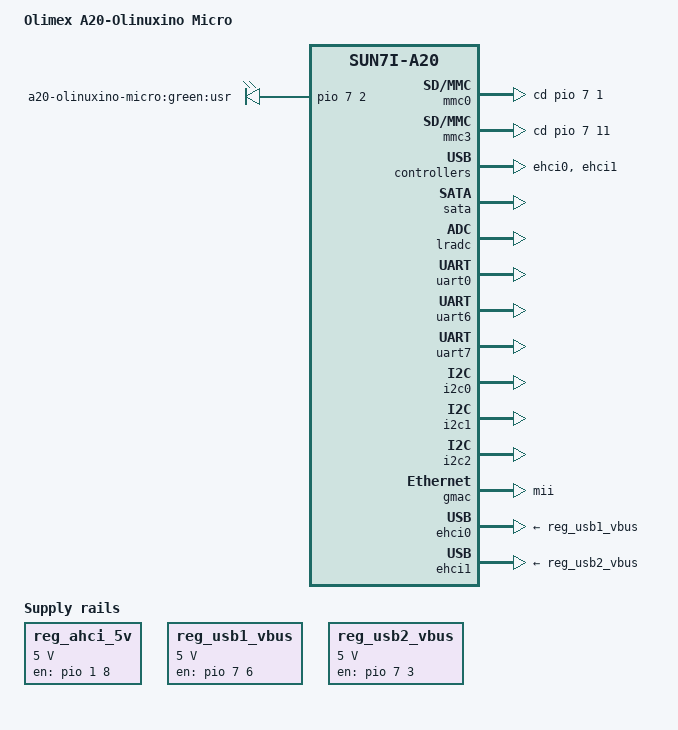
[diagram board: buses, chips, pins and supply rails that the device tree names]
/*
 * Copyright 2013 Maxime Ripard
 *
 * Maxime Ripard <maxime.ripard@free-electrons.com>
 *
 * The code contained herein is licensed under the GNU General Public
 * License. You may obtain a copy of the GNU General Public License
 * Version 2 or later at the following locations:
 *
 * http://www.opensource.org/licenses/gpl-license.html
 * http://www.gnu.org/copyleft/gpl.html
 */

/dts-v1/;
/include/ "sun7i-a20.dtsi"
#include <dt-bindings/input/input.h>

/ {
	model = "Olimex A20-Olinuxino Micro";
	compatible = "olimex,a20-olinuxino-micro", "allwinner,sun7i-a20";

	soc@01c00000 {
		mmc0: mmc@01c0f000 {
			pinctrl-names = "default";
			pinctrl-0 = <&mmc0_pins_a>;
			pinctrl-1 = <&mmc0_cd_pin_olinuxinom>;
			cd-gpios = <&pio 7 1 0>; /* PH1 */
			cd-mode = <1>;
			status = "okay";
		};

		mmc3: mmc@01c12000 {
			pinctrl-names = "default";
			pinctrl-0 = <&mmc3_pins_a>;
			pinctrl-1 = <&mmc3_cd_pin_olinuxinom>;
			cd-gpios = <&pio 7 11 0>; /* PH11 */
			cd-mode = <1>;
			status = "okay";
		};

		usbphy: phy@0x01c13400 {
			usb1_vbus-supply = <&reg_usb1_vbus>;
			usb2_vbus-supply = <&reg_usb2_vbus>;
			status = "okay";
		};

		ehci0: ehci@0x01c14000 {
			status = "okay";
		};

		sata: ahci@01c18000 {
			pwr-supply = <&reg_ahci_5v>;
			status = "okay";
		};

		ehci1: ehci@0x01c1c000 {
			status = "okay";
		};

		pinctrl@01c20800 {
			ahci_pwr_pin_olinuxinom: ahci_pwr_pin@0 {
				allwinner,pins = "PB8";
				allwinner,function = "gpio_out";
				allwinner,drive = <0>;
				allwinner,pull = <0>;
			};

			mmc0_cd_pin_olinuxinom: mmc0_cd_pin@0 {
				allwinner,pins = "PH1";
				allwinner,function = "gpio_in";
				allwinner,drive = <0>;
				allwinner,pull = <0>;
			};

			mmc3_cd_pin_olinuxinom: mmc3_cd_pin@0 {
				allwinner,pins = "PH11";
				allwinner,function = "gpio_in";
				allwinner,drive = <0>;
				allwinner,pull = <0>;
			};

			led_pins_olinuxino: led_pins@0 {
				allwinner,pins = "PH2";
				allwinner,function = "gpio_out";
				allwinner,drive = <1>;
				allwinner,pull = <0>;
			};

			usb1_vbus_pin_olinuxinom: usb1_vbus_pin@0 {
					allwinner,pins = "PH6";
					allwinner,function = "gpio_out";
					allwinner,drive = <0>;
					allwinner,pull = <0>;
			};

			usb2_vbus_pin_olinuxinom: usb2_vbus_pin@0 {
					allwinner,pins = "PH3";
					allwinner,function = "gpio_out";
					allwinner,drive = <0>;
					allwinner,pull = <0>;
			};
		};

		lradc: lradc@01c22800 {
			allwinner,chan0-step = <200>;
			linux,chan0-keycodes = <KEY_VOLUMEUP KEY_VOLUMEDOWN
						KEY_MENU KEY_SEARCH KEY_HOME
						KEY_ESC KEY_ENTER>;
			status = "okay";
		};

		uart0: serial@01c28000 {
			pinctrl-names = "default";
			pinctrl-0 = <&uart0_pins_a>;
			status = "okay";
		};

		uart6: serial@01c29800 {
			pinctrl-names = "default";
			pinctrl-0 = <&uart6_pins_a>;
			status = "okay";
		};

		uart7: serial@01c29c00 {
			pinctrl-names = "default";
			pinctrl-0 = <&uart7_pins_a>;
			status = "okay";
		};

		i2c0: i2c@01c2ac00 {
			pinctrl-names = "default";
			pinctrl-0 = <&i2c0_pins_a>;
			status = "okay";
		};

		i2c1: i2c@01c2b000 {
			pinctrl-names = "default";
			pinctrl-0 = <&i2c1_pins_a>;
			status = "okay";
		};

		i2c2: i2c@01c2b400 {
			pinctrl-names = "default";
			pinctrl-0 = <&i2c2_pins_a>;
			status = "okay";
		};

		gmac: ethernet@01c50000 {
			pinctrl-names = "default";
			pinctrl-0 = <&gmac_pins_mii>;
			snps,phy-addr = <1>;
			phy-mode = "mii";
			status = "okay";
		};

		ehci0: ehci0@0x01c14000 {
			vbus-supply = <&reg_usb1_vbus>;
			status = "okay";
		};

		ehci1: ehci1@0x01c1c000 {
			vbus-supply = <&reg_usb2_vbus>;
			status = "okay";
		};
	};

	leds {
		compatible = "gpio-leds";
		pinctrl-names = "default";
		pinctrl-0 = <&led_pins_olinuxino>;

		green {
			label = "a20-olinuxino-micro:green:usr";
			gpios = <&pio 7 2 0>;
			default-state = "on";
		};
	};

	regulators {
		compatible = "simple-bus";
		pinctrl-names = "default";

		reg_ahci_5v: ahci-5v {
			compatible = "regulator-fixed";
			regulator-name = "ahci-5v";
			regulator-min-microvolt = <5000000>;
			regulator-max-microvolt = <5000000>;
			pinctrl-0 = <&ahci_pwr_pin_olinuxinom>;
			gpio = <&pio 1 8 0>;
			enable-active-high;
		};

		reg_usb1_vbus: usb1-vbus {
			compatible = "regulator-fixed";
			pinctrl-names = "default";
			pinctrl-0 = <&usb1_vbus_pin_olinuxinom>;
			regulator-name = "usb1-vbus";
			regulator-min-microvolt = <5000000>;
			regulator-max-microvolt = <5000000>;
			enable-active-high;
			gpio = <&pio 7 6 0>;
		};

		reg_usb2_vbus: usb2-vbus {
			compatible = "regulator-fixed";
			pinctrl-names = "default";
			pinctrl-0 = <&usb2_vbus_pin_olinuxinom>;
			regulator-name = "usb2-vbus";
			regulator-min-microvolt = <5000000>;
			regulator-max-microvolt = <5000000>;
			enable-active-high;
			gpio = <&pio 7 3 0>;
		};
	};
};
